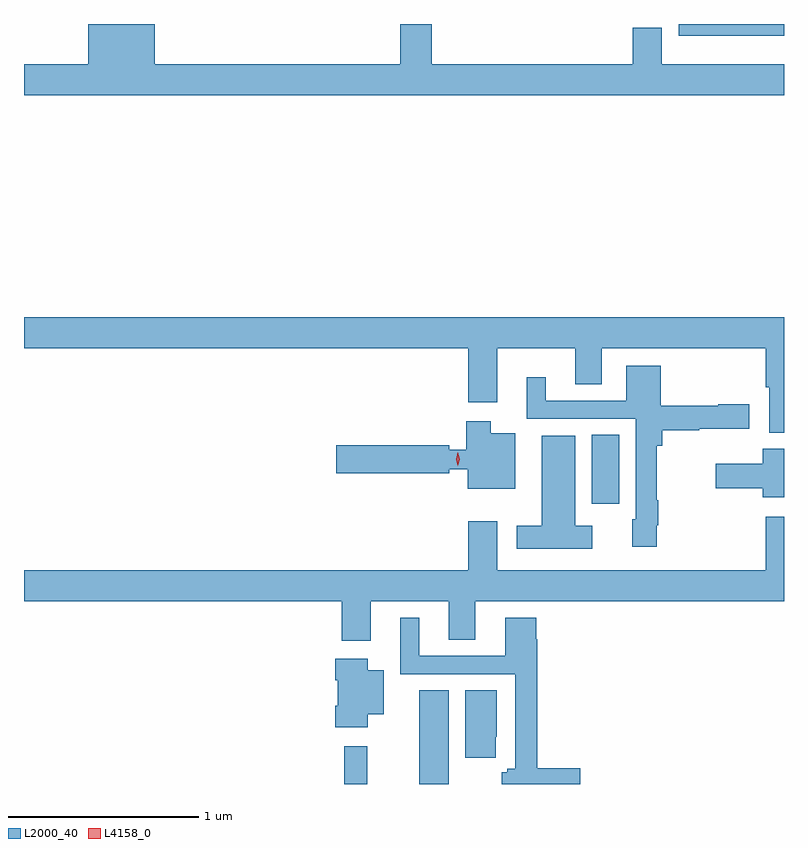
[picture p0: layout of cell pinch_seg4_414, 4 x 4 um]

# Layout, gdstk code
import gdstk
lib = gdstk.Library(unit=1e-6, precision=1e-09)
def R(c, l, rs):  # rectangles x0, y0, x1, y1
    for r in rs: c.add(gdstk.rectangle(r[:2], r[2:], *l))
def P(c, l, *ps):  # polygons
    for p in ps: c.add(gdstk.Polygon(p, *l))
L2000_40 = (2000, 40)
L4158_0 = (4158, 0)

pinch_seg4_414 = lib.new_cell('pinch_seg4_414')
R(pinch_seg4_414, L2000_40, [(1012.975,773.215,1013.096,773.413), (1013.369,773.215,1013.524,773.708), (1014.278,774.69,1014.421,775.052), (1014.734,777.152,1015.289,777.215)])
P(pinch_seg4_414, L2000_40, [(1015.289,777.004),(1014.646,777.004),(1014.646,777.194),(1014.494,777.194),(1014.494,777.004),(1013.434,777.004),(1013.434,777.215),(1013.27,777.215),(1013.27,777.004),(1011.976,777.004),(1011.976,777.215),(1011.626,777.215),(1011.626,777.004),(1011.289,777.004),(1011.289,776.84),(1015.289,776.84)],
  [(1015.289,775.672),(1011.289,775.672),(1011.289,775.508),(1013.627,775.508),(1013.627,775.224),(1013.779,775.224),(1013.779,775.508),(1014.191,775.508),(1014.191,775.318),(1014.331,775.318),(1014.331,775.508),(1015.194,775.508),(1015.194,775.303),(1015.211,775.303),(1015.211,775.064),(1015.289,775.064)],
  [(1014.619,774.577),(1014.626,774.577),(1014.626,774.709),(1014.619,774.709),(1014.619,774.995),(1014.648,774.995),(1014.648,775.078),(1014.842,775.078),(1014.842,775.085),(1015.105,775.085),(1015.105,775.215),(1014.942,775.215),(1014.942,775.207),(1014.64,775.207),(1014.64,775.417),(1014.458,775.417),(1014.458,775.233),(1014.034,775.233),(1014.034,775.357),(1013.936,775.357),(1013.936,775.137),(1014.51,775.137),(1014.51,774.609),(1014.491,774.609),(1014.491,774.465),(1014.619,774.465)],
  [(1013.875,775.06),(1013.746,775.06),(1013.746,775.123),(1013.617,775.123),(1013.617,774.975),(1013.528,774.975),(1013.528,774.998),(1012.932,774.998),(1012.932,774.851),(1013.528,774.851),(1013.528,774.871),(1013.624,774.871),(1013.624,774.77),(1013.875,774.77)],
  [(1014.28,774.574),(1014.19,774.574),(1014.19,775.048),(1014.014,775.048),(1014.014,774.574),(1013.883,774.574),(1013.883,774.452),(1014.28,774.452)],
  [(1015.289,774.979),(1015.178,774.979),(1015.178,774.901),(1014.93,774.901),(1014.93,774.772),(1015.178,774.772),(1015.178,774.725),(1015.289,774.725)],
  [(1013.113,774.176),(1013.525,774.176),(1013.525,773.974),(1013.665,773.974),(1013.665,774.176),(1015.289,774.176),(1015.289,774.622),(1015.194,774.622),(1015.194,774.34),(1013.779,774.34),(1013.779,774.598),(1013.627,774.598),(1013.627,774.34),(1011.289,774.34),(1011.289,774.176),(1012.961,774.176),(1012.961,773.97),(1013.113,773.97)],
  [(1014.217,773.297),(1013.99,773.297),(1013.99,773.978),(1013.984,773.978),(1013.984,774.091),(1013.822,774.091),(1013.822,773.889),(1013.368,773.889),(1013.368,774.091),(1013.27,774.091),(1013.27,773.793),(1013.874,773.793),(1013.874,773.296),(1013.832,773.296),(1013.832,773.276),(1013.803,773.276),(1013.803,773.215),(1014.217,773.215)],
  [(1013.098,773.582),(1013.182,773.582),(1013.182,773.815),(1013.098,773.815),(1013.098,773.875),(1012.928,773.875),(1012.928,773.762),(1012.94,773.762),(1012.94,773.626),(1012.928,773.626),(1012.928,773.514),(1013.098,773.514)],
  [(1013.773,773.464),(1013.776,773.464),(1013.776,773.708),(1013.612,773.708),(1013.612,773.352),(1013.773,773.352)])
P(pinch_seg4_414, L4158_0, [(1013.573,774.889),(1013.573,774.889),(1013.563,774.924),(1013.573,774.96),(1013.573,774.96),(1013.573,774.96),(1013.583,774.924),(1013.573,774.889)])

lib.write_gds('pinch_seg4_414.gds')
